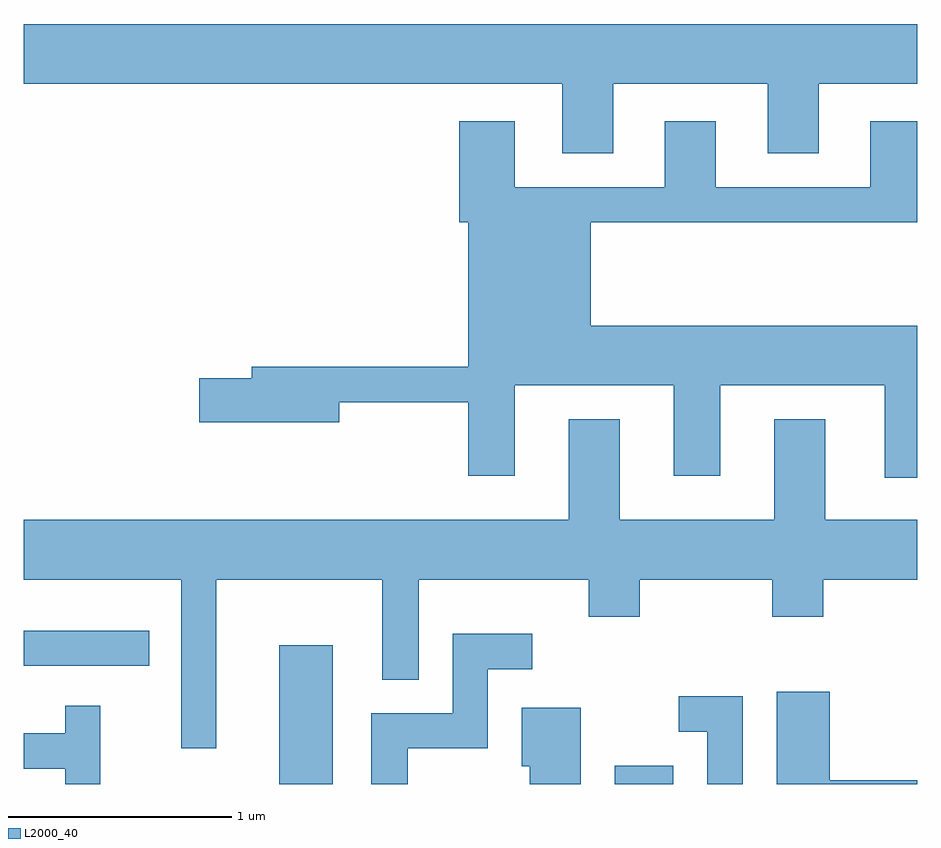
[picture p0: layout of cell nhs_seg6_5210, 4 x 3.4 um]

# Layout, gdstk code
import gdstk
lib = gdstk.Library(unit=1e-6, precision=1e-09)
def R(c, l, rs):  # rectangles x0, y0, x1, y1
    for r in rs: c.add(gdstk.rectangle(r[:2], r[2:], *l))
def P(c, l, *ps):  # polygons
    for p in ps: c.add(gdstk.Polygon(p, *l))
L2000_40 = (2000, 40)

nhs_seg6_5210 = lib.new_cell('nhs_seg6_5210')
R(nhs_seg6_5210, L2000_40, [(344.756,1620.162,344.994,1620.784), (346.256,1620.162,346.519,1620.244), (343.611,1620.691,344.173,1620.849)])
P(nhs_seg6_5210, L2000_40, [(346.249,1623.296),(346.941,1623.296),(346.941,1622.986),(347.169,1622.986),(347.169,1623.296),(347.611,1623.296),(347.611,1623.564),(343.611,1623.564),(343.611,1623.296),(346.021,1623.296),(346.021,1622.986),(346.249,1622.986)],
  [(347.611,1622.214),(346.149,1622.214),(346.149,1622.676),(347.611,1622.676),(347.611,1623.129),(347.401,1623.129),(347.401,1622.834),(346.709,1622.834),(346.709,1623.129),(346.481,1623.129),(346.481,1622.834),(345.809,1622.834),(345.809,1623.129),(345.561,1623.129),(345.561,1622.676),(345.601,1622.676),(345.601,1622.029),(344.631,1622.029),(344.631,1621.979),(344.396,1621.979),(344.396,1621.781),(345.024,1621.781),(345.024,1621.871),(345.601,1621.871),(345.601,1621.541),(345.809,1621.541),(345.809,1621.946),(346.521,1621.946),(346.521,1621.541),(346.729,1621.541),(346.729,1621.946),(347.466,1621.946),(347.466,1621.533),(347.611,1621.533)],
  [(344.474,1621.076),(345.216,1621.076),(345.216,1620.628),(345.379,1620.628),(345.379,1621.076),(346.141,1621.076),(346.141,1620.911),(346.369,1620.911),(346.369,1621.076),(346.961,1621.076),(346.961,1620.911),(347.189,1620.911),(347.189,1621.076),(347.611,1621.076),(347.611,1621.344),(347.199,1621.344),(347.199,1621.794),(346.971,1621.794),(346.971,1621.344),(346.279,1621.344),(346.279,1621.794),(346.051,1621.794),(346.051,1621.344),(343.611,1621.344),(343.611,1621.076),(344.316,1621.076),(344.316,1620.323),(344.474,1620.323)],
  [(345.329,1620.321),(345.689,1620.321),(345.689,1620.676),(345.888,1620.676),(345.888,1620.834),(345.531,1620.834),(345.531,1620.479),(345.166,1620.479),(345.166,1620.162),(345.329,1620.162)],
  [(347.611,1620.179),(347.219,1620.179),(347.219,1620.574),(346.981,1620.574),(346.981,1620.162),(347.611,1620.162)],
  [(346.829,1620.554),(346.543,1620.554),(346.543,1620.396),(346.671,1620.396),(346.671,1620.162),(346.829,1620.162)],
  [(343.954,1620.513),(343.796,1620.513),(343.796,1620.389),(343.611,1620.389),(343.611,1620.231),(343.796,1620.231),(343.796,1620.162),(343.954,1620.162)],
  [(346.104,1620.504),(345.841,1620.504),(345.841,1620.241),(345.876,1620.241),(345.876,1620.162),(346.104,1620.162)])

lib.write_gds('nhs_seg6_5210.gds')
